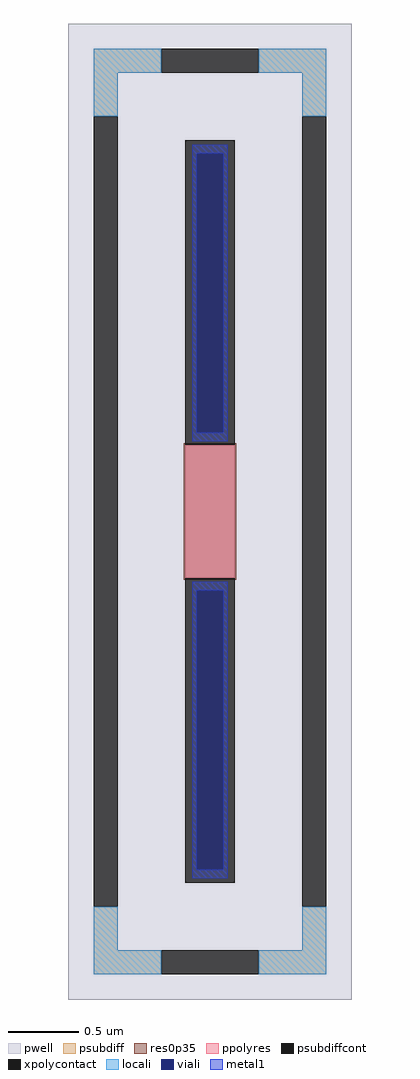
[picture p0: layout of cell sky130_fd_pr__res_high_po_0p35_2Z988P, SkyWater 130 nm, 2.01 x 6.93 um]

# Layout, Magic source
magic
tech sky130A
magscale 1 2
<< pwell >>
rect -201 -693 201 693
<< psubdiff >>
rect -165 623 -69 657
rect 69 623 165 657
rect -165 561 -131 623
rect 131 561 165 623
rect -165 -623 -131 -561
rect 131 -623 165 -561
rect -165 -657 -69 -623
rect 69 -657 165 -623
<< psubdiffcont >>
rect -69 623 69 657
rect -165 -561 -131 561
rect 131 -561 165 561
rect -69 -657 69 -623
<< xpolycontact >>
rect -35 95 35 527
rect -35 -527 35 -95
<< ppolyres >>
rect -35 -95 35 95
<< locali >>
rect -165 623 -69 657
rect 69 623 165 657
rect -165 561 -131 623
rect 131 561 165 623
rect -165 -623 -131 -561
rect 131 -623 165 -561
rect -165 -657 -69 -623
rect 69 -657 165 -623
<< viali >>
rect -19 112 19 509
rect -19 -509 19 -112
<< metal1 >>
rect -25 509 25 521
rect -25 112 -19 509
rect 19 112 25 509
rect -25 100 25 112
rect -25 -112 25 -100
rect -25 -509 -19 -112
rect 19 -509 25 -112
rect -25 -521 25 -509
<< res0p35 >>
rect -37 -97 37 97
<< properties >>
string FIXED_BBOX -148 -640 148 640
string gencell sky130_fd_pr__res_high_po_0p35
string library sky130
string parameters w 0.350 l 0.95 m 1 nx 1 wmin 0.350 lmin 0.50 rho 319.8 val 1.981k dummy 0 dw 0.0 term 194.82 sterm 0.0 caplen 0 guard 1 glc 1 grc 1 gtc 1 gbc 1 compatible {sky130_fd_pr__res_high_po_0p35  sky130_fd_pr__res_high_po_0p69 sky130_fd_pr__res_high_po_1p41  sky130_fd_pr__res_high_po_2p85 sky130_fd_pr__res_high_po_5p73} full_metal 1 wmax 0.350 vias 1 n_guard 0 hv_guard 0 viagb 0 viagt 0 viagl 0 viagr 0
<< end >>
